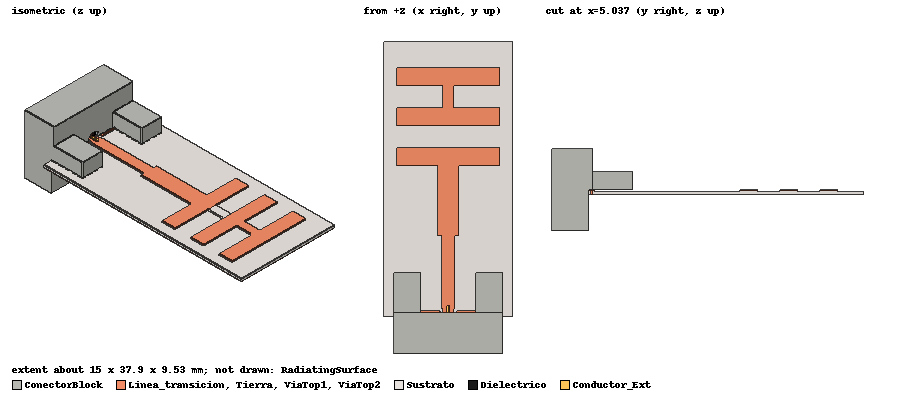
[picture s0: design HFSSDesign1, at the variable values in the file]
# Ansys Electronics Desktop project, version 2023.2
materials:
  vacuum: permittivity=1
  copper: permeability=0.999991 conductivity=58000000
  Rogers RT/duroid 5880 (tm): permittivity=2.2 dielectric_loss_tangent=0.0009
  nickel: permeability=600 conductivity=14500000
  Teflon (tm): permittivity=2.1 dielectric_loss_tangent=0.001
  gold: permeability=0.99996 conductivity=41000000
  pec: conductivity=1e+30

design HFSSDesign1 (HFSS, HFSS Modal Network, model units mm)
options: open_region{BoundaryType=0 OpFreq=40GHz}
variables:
  W = 15mm
  L = Lg+6*h
  oz = 0.035mm
  h = 0.508mm
  TRW = 1.565mm
  TRL = 1.27mm
  WTR = 1.565mm
  LTR = 8.117mm
  WLT = 2.5mm
  LLT = 8.1mm
  WP1 = 11.9mm
  LP1 = 2.1mm
  WLT1 = 1.25mm
  LLT1 = 2.5mm
  WP2 = 11.9mm
  LP2 = 2.1mm
  WLT2 = 1.25mm
  LLT2 = 2.5mm
  WP3 = 11.9mm
  LP3 = 2.1mm
  Wg = WP1
  Lg = 1.27mm+LTR+LLT+LP1+LLT1+LP2+LLT2+LP3
  Espesor = 0.22mm
  devastado = -0.1mm
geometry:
  Tierra [copper] = box(corner=(0mm, 0mm, 0mm), size=(W, L, oz))
  Sustrato [Rogers RT/duroid 5880 (tm)] = box(corner=(0mm, 0mm, oz), size=(W, L, h))
  Transicion = polyline(z=oz+h, xy in mm: (7.0685, 0) (7.9315, 0) (8.2825, 1.27) (6.7175, 1.27) (7.0685, 0), closed, covered)
  Transicion.thicken(oz)
  LT = box(corner=(W/2-WLT/2, 1.27mm+LTR, oz+h), size=(WLT, LLT, oz))
  P1 = box(corner=(W/2-WP1/2, 1.27mm+LTR+LLT, oz+h), size=(WP1, LP1, oz))
  LT1 = box(corner=(W/2-WLT1/2, 1.27m+LTR+LLT+LP1, h+oz), size=(WLT1, LLT1, oz))
  P2 = box(corner=(W/2-WP2/2, 1.27mm+LTR+LLT+LP1+LLT1, oz+h), size=(WP2, LP2, oz))
  LT2 = box(corner=(W/2-WLT2/2, 1.27mm+LTR+LLT+LP1+LLT1+LP2, oz+h), size=(WLT2, LLT2, oz))
  P3 = box(corner=(W/2-WP3/2, 1.27mm+LTR+LLT+LP1+LLT1+LP2+LLT2, oz+h), size=(WP3, LP3, oz))
  Via1 [copper] = cylinder(axis=Z, base_centre=(5.0365mm, 0.381mm, oz), radius=0.152mm, height=h)
  Via2 [copper] = cylinder(axis=Z, base_centre=(5.6715mm, 0.381mm, oz), radius=0.152mm, height=h)
  Via3 [copper] = cylinder(axis=Z, base_centre=(6.3065mm, 0.381mm, oz), radius=0.152mm, height=h)
  Via4 [copper] = cylinder(axis=Z, base_centre=(8.6935mm, 0.381mm, oz), radius=0.152mm, height=h)
  Via5 [copper] = cylinder(axis=Z, base_centre=(9.3285mm, 0.381mm, oz), radius=0.152mm, height=h)
  Via6 [copper] = cylinder(axis=Z, base_centre=(9.9635mm, 0.381mm, oz), radius=0.152mm, height=h)
  Via1_1 = Via1.copy()
  Via2_1 = Via2.copy()
  Via3_1 = Via3.copy()
  Via4_1 = Via4.copy()
  Via5_1 = Via5.copy()
  Via6_1 = Via6.copy()
  Sustrato.subtract(Via1_1, Via2_1, Via3_1, Via4_1, Via5_1, Via6_1)
  ViaTop1 [copper] = polyline(z=oz+h, xy in mm: (4.198, 0) (4.198, 0.762) (6.4335, 0.762) (6.6875, 0.508) (6.6875, 0) (4.198, 0), closed, covered)
  ViaTop2 [copper] = polyline(z=oz+h, xy in mm: (10.802, 0) (10.802, 0.762) (8.5665, 0.762) (8.3125, 0.508) (8.3125, 0) (10.802, 0), closed, covered)
  ViaTop1.thicken(-oz)
  ViaTop2.thicken(oz)
  ConectorBlock [nickel] = box(corner=(1.15mm, 0mm, -4.142mm), size=(12.7mm, -4.24mm, 9.53mm))
  ConectorBlock2 = box(corner=(1.15mm, 0mm, oz+h+oz), size=(12.7mm, 0.5mm, 4.81mm))
  ConectorBlock.unite(ConectorBlock2)
  Cylinder1 = cylinder(axis=Y, base_centre=(7.5mm, -4.24mm, 0.705mm), radius=0.80645mm, height=(4.24+.5) mm)
  ConectorBlock.subtract(Cylinder1)
  Dielectrico [Teflon (tm)] = cylinder(axis=Y, base_centre=(7.5mm, -4.24mm, 0.705mm), radius=0.80645mm, height=4.24mm)
  Conduntor_Int [gold] = cylinder(axis=Y, base_centre=(7.5mm, -4.24mm, 0.705mm), radius=0.254mm, height=4.24mm)
  Cylinder2_1 = Conduntor_Int.copy()
  Dielectrico.subtract(Cylinder2_1)
  Conductor_Ext [gold] = cylinder(axis=Y, base_centre=(7.5mm, 0mm, 0.705mm), radius=0.127mm, height=1.27mm)
  Soporte1 = box(corner=(1.15mm, 0.5mm, oz+oz+h), size=(3.175mm, 4.58mm, 2.14mm))
  Soporte2 = box(corner=(10.675mm, 0.5mm, oz+oz+h), size=(3.175mm, 4.58mm, 2.14mm))
  ConectorBlock.unite(Soporte1, Soporte2)
  Linea_transicion [copper] = box(corner=(W/2-WTR/2, 1.27mm, oz+h), size=(WTR, LTR, oz))
  RadiatingSurface [vacuum] = region(absolute_offset=2.5mm on all sides)
  Linea_transicion.unite(LT, LT1, LT2, P1, P2, P3, Transicion)
  Polyline1 = polyline(z=0.543mm, xy in mm: (15, 0) (15, 31.835) (0, 31.835) (0, 0) (4.198, 0) (4.198, 0.762) (6.4335, 0.762) (6.6875, 0.508) (6.6875, 0) (7.0685, 0) (6.7175, 1.27) (6.7175, 9.387) (6.25, 9.387) (6.25, 17.487) (1.55, 17.487) (1.55, 19.587) (6.875, 19.587) (6.875, 22.087) (1.55, 22.087) (1.55, 24.187) (6.875, 24.187) (6.875, 26.687) (1.55, 26.687) (1.55, 28.787) (13.45, 28.787) (13.45, 26.687) (8.125, 26.687) (8.125, 24.187) (13.45, 24.187) (13.45, 22.087) (8.125, 22.087) (8.125, 19.587) (13.45, 19.587) (13.45, 17.487) (8.75, 17.487) (8.75, 9.387) (8.2825, 9.387) (8.2825, 1.27) (7.9315, 0) (8.3125, 0) (8.3125, 0.508) (8.5665, 0.762) (10.802, 0.762) (10.802, 0) (15, 0), closed, covered)
  Polyline1.thicken(devastado)
  Sustrato.subtract(Polyline1)
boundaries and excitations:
  AutoOpen1: Radiation Objects=RadiatingSurface
  Topantena: Finite Conductivity Faces=Linea_transicion.face(+z) UseMaterial Material=copper Roughness=0.4um IsInternal
  dielectricoantena: Finite Conductivity Faces=Linea_transicion.face(-z) UseMaterial Material=copper Roughness=2.4um IsInternal
  dielectricotierra: Finite Conductivity Faces=Tierra.face(+z) UseMaterial Material=copper Roughness=2.4um IsInternal
  Topdielectrico: Finite Conductivity Faces=Tierra.face(-z) UseMaterial Material=copper Roughness=0.4um IsInternal
  1: Lumped Port Faces=Dielectrico.face(-y end) LumpedPortType=Modal Modes{Mode1{IntLine{(7.5, -4.24, 0.959) -> (7.5, -4.24, 1.51145)} CharImp=Zpi RenormImp=50ohm}} Impedance=50ohm
  reference conductors: ConectorBlock
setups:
  Auto1: HfssDriven MultipleAdaptiveFreqsSetup{AdaptAt{Frequency=37GHz Delta=0.02} AdaptAt{Frequency=40GHz Delta=0.02} AdaptAt{Frequency=43GHz Delta=0.02}} MaximumPasses=30 MinimumPasses=1 MinimumConvergedPasses=1 PercentRefinement=30 BasisOrder=1 PortAccuracy=2 DrivenSolverType="Direct Solver"
    sweep Sweep: 35GHz to 45GHz, 1001 points; Type=Interpolating SaveFields InterpTolerance=0.5 InterpMaxSolns=250 InterpUsePortImped=false InterpUsePropConst=false PassivityErrorTolerance=0.0001
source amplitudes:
  1:1: 1W 0deg
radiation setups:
  3D: Infinite Sphere Theta=0deg..180deg step 2deg Phi=-180deg..180deg step 2deg
  Elevation: Infinite Sphere Theta=-180deg..180deg step 1deg Phi=0deg..90deg step 90deg
  Azimuth: Infinite Sphere Theta=90deg..90deg step 0deg Phi=-180deg..180deg step 1deg
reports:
  Ganancia: dB(PeakGain) vs Freq on Auto1 : Sweep; markers MX1 at x=3.7e+10, MX2 at x=4.35e+10
  Gain Plot 4: dB(GainTotal) vs Theta on Auto1 : LastAdaptive, Elevation [Phi=all Freq=40GHz]; markers m1 at 1deg, m2 at -180deg
  Gain Plot 7: dB(GainTotal) vs Theta on Auto1 : LastAdaptive, Elevation [Phi=90deg Freq=40GHz]
  Gain Plot 8: dB(GainTotal) vs Theta on Auto1 : Sweep, Elevation [Phi=90deg Freq=40GHz]
  Gain Plot 9: dB(GainTotal) vs Theta on Auto1 : LastAdaptive, Elevation [Phi=90deg Freq=37GHz]
  Gain Plot 10: dB(GainTotal) vs Theta on Auto1 : LastAdaptive, Elevation [Phi=90deg Freq=43GHz]
  Gain Plot 11: dB(GainTotal) vs Theta on Auto1 : LastAdaptive, Elevation [Phi=0deg Freq=37GHz]
  Gain Plot 12: dB(GainTotal) vs Theta on Auto1 : LastAdaptive, Elevation [Phi=0deg Freq=40GHz]
  Gain Plot 13: dB(GainTotal) vs Theta on Auto1 : LastAdaptive, Elevation [Phi=0deg Freq=43GHz]; markers m1 at 0deg, m2 at -179deg
  S11: dB(S(1,1)) vs Freq on Auto1 : Sweep
